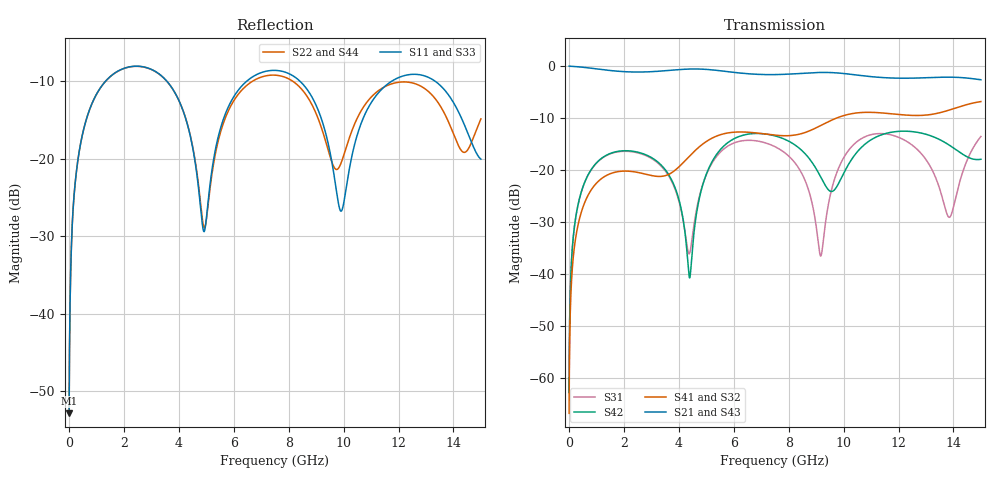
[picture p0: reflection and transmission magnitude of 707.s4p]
! Created with skrf 1.8.0 (http://scikit-rf.org).
# GHz S RI R 50.0
!freq ReS11 ImS11 ReS12 ImS12 ReS13 ImS13
! ReS14 ImS14
! ReS21 ImS21 ReS22 ImS22 ReS23 ImS23
! ReS24 ImS24
! ReS31 ImS31 ReS32 ImS32 ReS33 ImS33
! ReS34 ImS34
! ReS41 ImS41 ReS42 ImS42 ReS43 ImS43
! ReS44 ImS44
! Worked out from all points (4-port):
!   2499 points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, 5 MHz to 15 GHz, reference 50 ohm
!   strongest paths, dB at 5 MHz, 3.476 GHz, 7.19 GHz, 11.1 GHz, 15 GHz:
!     S21: 0.0, -0.9, -1.6, -2.1, -2.6
!     S43: 0.0, -0.9, -1.6, -2.1, -2.6
!     S41: -66.7, -21.1, -13.1, -8.9, -6.8
!     S32: -66.7, -21.1, -13.1, -8.9, -6.8
!     S42: -62.8, -19.7, -13.1, -13.9, -17.9
!     S31: -62.8, -19.9, -14.8, -13.1, -13.5
!   lowest |S11| = -52.8 dB at 5 MHz (marker M1), VSWR 1.00, Z = 50.2 + j0.139 ohm
!   |S11| at or under -10 dB: 3.562 GHz to 6.476 GHz (2.914 GHz wide, 58.1 % of centre); 8.407 GHz to 11.76 GHz (3.352 GHz wide, 33.2 % of centre); 13.33 GHz to end of sweep (the widest 3 of 4)
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0.005  0.00182 0.00138  0.9981 -0.00354  9.19e-05 0.00072  -8.93e-05 -0.000452
       0.9981 -0.00354  0.00182 0.00138  -8.93e-05 -0.000452  9.2e-05 0.00072
       9.19e-05 0.00072  -8.93e-05 -0.000452  0.00182 0.00138  0.9981 -0.00354
       -8.93e-05 -0.000452  9.2e-05 0.00072  0.9981 -0.00354  0.00182 0.00138
0.3626511  0.0362 0.1024  0.95 -0.2522  0.0171 0.0478  -0.0143 -0.0291
           0.95 -0.2522  0.0361 0.1024  -0.0143 -0.0291  0.0175 0.0477
           0.0171 0.0478  -0.0143 -0.0291  0.0362 0.1024  0.95 -0.2522
           -0.0143 -0.0291  0.0175 0.0477  0.95 -0.2522  0.0361 0.1024
1.825761  0.3495 0.1224  0.3416 -0.8224  0.1474 0.031  -0.0932 0.0273
          0.3416 -0.8224  0.3482 0.1239  -0.0932 0.0272  0.1503 0.024
          0.1474 0.031  -0.0932 0.0272  0.3496 0.1224  0.3416 -0.8224
          -0.0932 0.0273  0.1503 0.024  0.3416 -0.8224  0.3483 0.124
4.394545  0.074 -0.1257  -0.8541 -0.3849  -0.0158 -0.0022  -0.0524 0.1265
          -0.8541 -0.3849  0.077 -0.1253  -0.0531 0.1262  -0.00912 -0.00127
          -0.0158 -0.0022  -0.0531 0.1262  0.0744 -0.127  -0.8539 -0.3849
          -0.0524 0.1265  -0.00912 -0.00127  -0.8539 -0.3849  0.0777 -0.1264
7.453105  0.3702 -0.0209  -0.0878 0.8234  0.1694 -0.0196  0.2109 -0.0528
          -0.0878 0.8234  0.3457 0.00364  0.211 -0.0511  0.1823 -0.1143
          0.1694 -0.0196  0.211 -0.0511  0.3707 -0.0206  -0.0867 0.8235
          0.2109 -0.0528  0.1823 -0.1143  -0.0867 0.8235  0.3455 0.0024
10.17924  0.0622 0.0501  0.8376 -0.0423  0.076 0.1348  -0.0396 -0.3416
          0.8376 -0.0423  0.1115 0.0692  -0.0368 -0.3412  0.0222 0.1113
          0.076 0.1348  -0.0368 -0.3412  0.0664 0.0479  0.8376 -0.0444
          -0.0396 -0.3416  0.0222 0.1113  0.8376 -0.0444  0.1076 0.0667
15  0.0941 -0.0319  -0.7324 -0.0984  0.1231 0.1707  -0.0385 0.4544
    -0.7324 -0.0984  0.1512 0.0985  -0.0446 0.4536  -0.0789 0.0997
    0.1231 0.1707  -0.0446 0.4536  0.0971 -0.0292  -0.7332 -0.0897
    -0.0385 0.4544  -0.0789 0.0997  -0.7332 -0.0897  0.1503 0.0991
